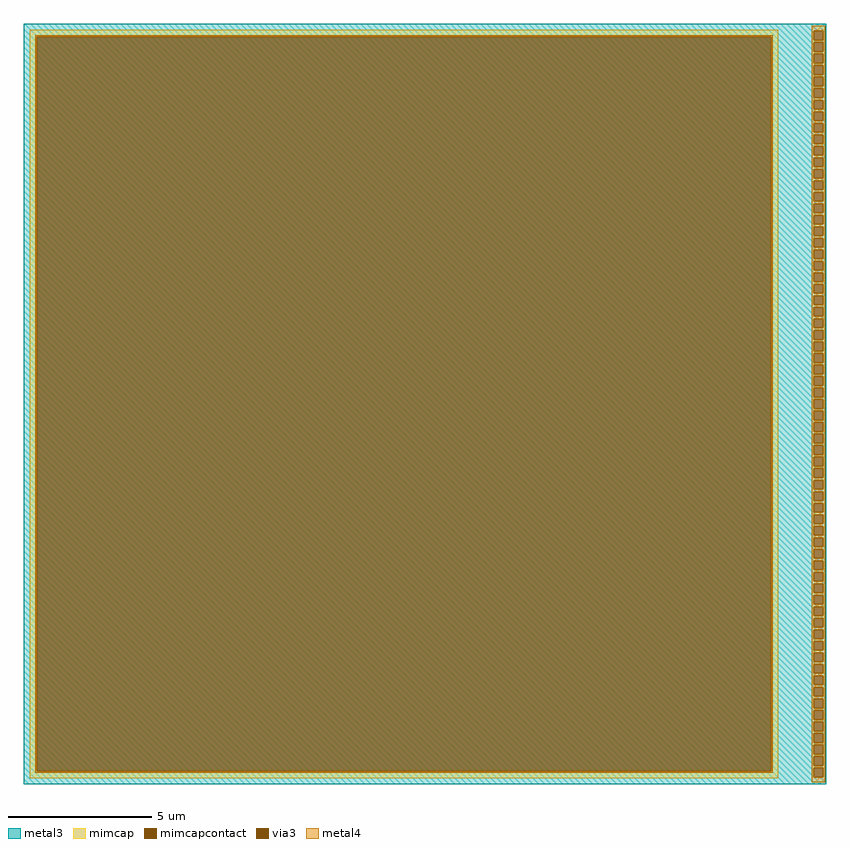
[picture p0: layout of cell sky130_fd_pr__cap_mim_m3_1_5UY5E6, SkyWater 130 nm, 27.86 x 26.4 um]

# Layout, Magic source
magic
tech sky130A
magscale 1 2
<< metal3 >>
rect -2786 2592 2786 2640
rect -2786 2528 2702 2592
rect 2766 2528 2786 2592
rect -2786 2512 2786 2528
rect -2786 2448 2702 2512
rect 2766 2448 2786 2512
rect -2786 2432 2786 2448
rect -2786 2368 2702 2432
rect 2766 2368 2786 2432
rect -2786 2352 2786 2368
rect -2786 2288 2702 2352
rect 2766 2288 2786 2352
rect -2786 2272 2786 2288
rect -2786 2208 2702 2272
rect 2766 2208 2786 2272
rect -2786 2192 2786 2208
rect -2786 2128 2702 2192
rect 2766 2128 2786 2192
rect -2786 2112 2786 2128
rect -2786 2048 2702 2112
rect 2766 2048 2786 2112
rect -2786 2032 2786 2048
rect -2786 1968 2702 2032
rect 2766 1968 2786 2032
rect -2786 1952 2786 1968
rect -2786 1888 2702 1952
rect 2766 1888 2786 1952
rect -2786 1872 2786 1888
rect -2786 1808 2702 1872
rect 2766 1808 2786 1872
rect -2786 1792 2786 1808
rect -2786 1728 2702 1792
rect 2766 1728 2786 1792
rect -2786 1712 2786 1728
rect -2786 1648 2702 1712
rect 2766 1648 2786 1712
rect -2786 1632 2786 1648
rect -2786 1568 2702 1632
rect 2766 1568 2786 1632
rect -2786 1552 2786 1568
rect -2786 1488 2702 1552
rect 2766 1488 2786 1552
rect -2786 1472 2786 1488
rect -2786 1408 2702 1472
rect 2766 1408 2786 1472
rect -2786 1392 2786 1408
rect -2786 1328 2702 1392
rect 2766 1328 2786 1392
rect -2786 1312 2786 1328
rect -2786 1248 2702 1312
rect 2766 1248 2786 1312
rect -2786 1232 2786 1248
rect -2786 1168 2702 1232
rect 2766 1168 2786 1232
rect -2786 1152 2786 1168
rect -2786 1088 2702 1152
rect 2766 1088 2786 1152
rect -2786 1072 2786 1088
rect -2786 1008 2702 1072
rect 2766 1008 2786 1072
rect -2786 992 2786 1008
rect -2786 928 2702 992
rect 2766 928 2786 992
rect -2786 912 2786 928
rect -2786 848 2702 912
rect 2766 848 2786 912
rect -2786 832 2786 848
rect -2786 768 2702 832
rect 2766 768 2786 832
rect -2786 752 2786 768
rect -2786 688 2702 752
rect 2766 688 2786 752
rect -2786 672 2786 688
rect -2786 608 2702 672
rect 2766 608 2786 672
rect -2786 592 2786 608
rect -2786 528 2702 592
rect 2766 528 2786 592
rect -2786 512 2786 528
rect -2786 448 2702 512
rect 2766 448 2786 512
rect -2786 432 2786 448
rect -2786 368 2702 432
rect 2766 368 2786 432
rect -2786 352 2786 368
rect -2786 288 2702 352
rect 2766 288 2786 352
rect -2786 272 2786 288
rect -2786 208 2702 272
rect 2766 208 2786 272
rect -2786 192 2786 208
rect -2786 128 2702 192
rect 2766 128 2786 192
rect -2786 112 2786 128
rect -2786 48 2702 112
rect 2766 48 2786 112
rect -2786 32 2786 48
rect -2786 -32 2702 32
rect 2766 -32 2786 32
rect -2786 -48 2786 -32
rect -2786 -112 2702 -48
rect 2766 -112 2786 -48
rect -2786 -128 2786 -112
rect -2786 -192 2702 -128
rect 2766 -192 2786 -128
rect -2786 -208 2786 -192
rect -2786 -272 2702 -208
rect 2766 -272 2786 -208
rect -2786 -288 2786 -272
rect -2786 -352 2702 -288
rect 2766 -352 2786 -288
rect -2786 -368 2786 -352
rect -2786 -432 2702 -368
rect 2766 -432 2786 -368
rect -2786 -448 2786 -432
rect -2786 -512 2702 -448
rect 2766 -512 2786 -448
rect -2786 -528 2786 -512
rect -2786 -592 2702 -528
rect 2766 -592 2786 -528
rect -2786 -608 2786 -592
rect -2786 -672 2702 -608
rect 2766 -672 2786 -608
rect -2786 -688 2786 -672
rect -2786 -752 2702 -688
rect 2766 -752 2786 -688
rect -2786 -768 2786 -752
rect -2786 -832 2702 -768
rect 2766 -832 2786 -768
rect -2786 -848 2786 -832
rect -2786 -912 2702 -848
rect 2766 -912 2786 -848
rect -2786 -928 2786 -912
rect -2786 -992 2702 -928
rect 2766 -992 2786 -928
rect -2786 -1008 2786 -992
rect -2786 -1072 2702 -1008
rect 2766 -1072 2786 -1008
rect -2786 -1088 2786 -1072
rect -2786 -1152 2702 -1088
rect 2766 -1152 2786 -1088
rect -2786 -1168 2786 -1152
rect -2786 -1232 2702 -1168
rect 2766 -1232 2786 -1168
rect -2786 -1248 2786 -1232
rect -2786 -1312 2702 -1248
rect 2766 -1312 2786 -1248
rect -2786 -1328 2786 -1312
rect -2786 -1392 2702 -1328
rect 2766 -1392 2786 -1328
rect -2786 -1408 2786 -1392
rect -2786 -1472 2702 -1408
rect 2766 -1472 2786 -1408
rect -2786 -1488 2786 -1472
rect -2786 -1552 2702 -1488
rect 2766 -1552 2786 -1488
rect -2786 -1568 2786 -1552
rect -2786 -1632 2702 -1568
rect 2766 -1632 2786 -1568
rect -2786 -1648 2786 -1632
rect -2786 -1712 2702 -1648
rect 2766 -1712 2786 -1648
rect -2786 -1728 2786 -1712
rect -2786 -1792 2702 -1728
rect 2766 -1792 2786 -1728
rect -2786 -1808 2786 -1792
rect -2786 -1872 2702 -1808
rect 2766 -1872 2786 -1808
rect -2786 -1888 2786 -1872
rect -2786 -1952 2702 -1888
rect 2766 -1952 2786 -1888
rect -2786 -1968 2786 -1952
rect -2786 -2032 2702 -1968
rect 2766 -2032 2786 -1968
rect -2786 -2048 2786 -2032
rect -2786 -2112 2702 -2048
rect 2766 -2112 2786 -2048
rect -2786 -2128 2786 -2112
rect -2786 -2192 2702 -2128
rect 2766 -2192 2786 -2128
rect -2786 -2208 2786 -2192
rect -2786 -2272 2702 -2208
rect 2766 -2272 2786 -2208
rect -2786 -2288 2786 -2272
rect -2786 -2352 2702 -2288
rect 2766 -2352 2786 -2288
rect -2786 -2368 2786 -2352
rect -2786 -2432 2702 -2368
rect 2766 -2432 2786 -2368
rect -2786 -2448 2786 -2432
rect -2786 -2512 2702 -2448
rect 2766 -2512 2786 -2448
rect -2786 -2528 2786 -2512
rect -2786 -2592 2702 -2528
rect 2766 -2592 2786 -2528
rect -2786 -2640 2786 -2592
<< via3 >>
rect 2702 2528 2766 2592
rect 2702 2448 2766 2512
rect 2702 2368 2766 2432
rect 2702 2288 2766 2352
rect 2702 2208 2766 2272
rect 2702 2128 2766 2192
rect 2702 2048 2766 2112
rect 2702 1968 2766 2032
rect 2702 1888 2766 1952
rect 2702 1808 2766 1872
rect 2702 1728 2766 1792
rect 2702 1648 2766 1712
rect 2702 1568 2766 1632
rect 2702 1488 2766 1552
rect 2702 1408 2766 1472
rect 2702 1328 2766 1392
rect 2702 1248 2766 1312
rect 2702 1168 2766 1232
rect 2702 1088 2766 1152
rect 2702 1008 2766 1072
rect 2702 928 2766 992
rect 2702 848 2766 912
rect 2702 768 2766 832
rect 2702 688 2766 752
rect 2702 608 2766 672
rect 2702 528 2766 592
rect 2702 448 2766 512
rect 2702 368 2766 432
rect 2702 288 2766 352
rect 2702 208 2766 272
rect 2702 128 2766 192
rect 2702 48 2766 112
rect 2702 -32 2766 32
rect 2702 -112 2766 -48
rect 2702 -192 2766 -128
rect 2702 -272 2766 -208
rect 2702 -352 2766 -288
rect 2702 -432 2766 -368
rect 2702 -512 2766 -448
rect 2702 -592 2766 -528
rect 2702 -672 2766 -608
rect 2702 -752 2766 -688
rect 2702 -832 2766 -768
rect 2702 -912 2766 -848
rect 2702 -992 2766 -928
rect 2702 -1072 2766 -1008
rect 2702 -1152 2766 -1088
rect 2702 -1232 2766 -1168
rect 2702 -1312 2766 -1248
rect 2702 -1392 2766 -1328
rect 2702 -1472 2766 -1408
rect 2702 -1552 2766 -1488
rect 2702 -1632 2766 -1568
rect 2702 -1712 2766 -1648
rect 2702 -1792 2766 -1728
rect 2702 -1872 2766 -1808
rect 2702 -1952 2766 -1888
rect 2702 -2032 2766 -1968
rect 2702 -2112 2766 -2048
rect 2702 -2192 2766 -2128
rect 2702 -2272 2766 -2208
rect 2702 -2352 2766 -2288
rect 2702 -2432 2766 -2368
rect 2702 -2512 2766 -2448
rect 2702 -2592 2766 -2528
<< mimcap >>
rect -2746 2552 2454 2600
rect -2746 -2552 -2698 2552
rect 2406 -2552 2454 2552
rect -2746 -2600 2454 -2552
<< mimcapcontact >>
rect -2698 -2552 2406 2552
<< metal4 >>
rect 2686 2592 2782 2628
rect -2707 2552 2415 2561
rect -2707 -2552 -2698 2552
rect 2406 -2552 2415 2552
rect -2707 -2561 2415 -2552
rect 2686 2528 2702 2592
rect 2766 2528 2782 2592
rect 2686 2512 2782 2528
rect 2686 2448 2702 2512
rect 2766 2448 2782 2512
rect 2686 2432 2782 2448
rect 2686 2368 2702 2432
rect 2766 2368 2782 2432
rect 2686 2352 2782 2368
rect 2686 2288 2702 2352
rect 2766 2288 2782 2352
rect 2686 2272 2782 2288
rect 2686 2208 2702 2272
rect 2766 2208 2782 2272
rect 2686 2192 2782 2208
rect 2686 2128 2702 2192
rect 2766 2128 2782 2192
rect 2686 2112 2782 2128
rect 2686 2048 2702 2112
rect 2766 2048 2782 2112
rect 2686 2032 2782 2048
rect 2686 1968 2702 2032
rect 2766 1968 2782 2032
rect 2686 1952 2782 1968
rect 2686 1888 2702 1952
rect 2766 1888 2782 1952
rect 2686 1872 2782 1888
rect 2686 1808 2702 1872
rect 2766 1808 2782 1872
rect 2686 1792 2782 1808
rect 2686 1728 2702 1792
rect 2766 1728 2782 1792
rect 2686 1712 2782 1728
rect 2686 1648 2702 1712
rect 2766 1648 2782 1712
rect 2686 1632 2782 1648
rect 2686 1568 2702 1632
rect 2766 1568 2782 1632
rect 2686 1552 2782 1568
rect 2686 1488 2702 1552
rect 2766 1488 2782 1552
rect 2686 1472 2782 1488
rect 2686 1408 2702 1472
rect 2766 1408 2782 1472
rect 2686 1392 2782 1408
rect 2686 1328 2702 1392
rect 2766 1328 2782 1392
rect 2686 1312 2782 1328
rect 2686 1248 2702 1312
rect 2766 1248 2782 1312
rect 2686 1232 2782 1248
rect 2686 1168 2702 1232
rect 2766 1168 2782 1232
rect 2686 1152 2782 1168
rect 2686 1088 2702 1152
rect 2766 1088 2782 1152
rect 2686 1072 2782 1088
rect 2686 1008 2702 1072
rect 2766 1008 2782 1072
rect 2686 992 2782 1008
rect 2686 928 2702 992
rect 2766 928 2782 992
rect 2686 912 2782 928
rect 2686 848 2702 912
rect 2766 848 2782 912
rect 2686 832 2782 848
rect 2686 768 2702 832
rect 2766 768 2782 832
rect 2686 752 2782 768
rect 2686 688 2702 752
rect 2766 688 2782 752
rect 2686 672 2782 688
rect 2686 608 2702 672
rect 2766 608 2782 672
rect 2686 592 2782 608
rect 2686 528 2702 592
rect 2766 528 2782 592
rect 2686 512 2782 528
rect 2686 448 2702 512
rect 2766 448 2782 512
rect 2686 432 2782 448
rect 2686 368 2702 432
rect 2766 368 2782 432
rect 2686 352 2782 368
rect 2686 288 2702 352
rect 2766 288 2782 352
rect 2686 272 2782 288
rect 2686 208 2702 272
rect 2766 208 2782 272
rect 2686 192 2782 208
rect 2686 128 2702 192
rect 2766 128 2782 192
rect 2686 112 2782 128
rect 2686 48 2702 112
rect 2766 48 2782 112
rect 2686 32 2782 48
rect 2686 -32 2702 32
rect 2766 -32 2782 32
rect 2686 -48 2782 -32
rect 2686 -112 2702 -48
rect 2766 -112 2782 -48
rect 2686 -128 2782 -112
rect 2686 -192 2702 -128
rect 2766 -192 2782 -128
rect 2686 -208 2782 -192
rect 2686 -272 2702 -208
rect 2766 -272 2782 -208
rect 2686 -288 2782 -272
rect 2686 -352 2702 -288
rect 2766 -352 2782 -288
rect 2686 -368 2782 -352
rect 2686 -432 2702 -368
rect 2766 -432 2782 -368
rect 2686 -448 2782 -432
rect 2686 -512 2702 -448
rect 2766 -512 2782 -448
rect 2686 -528 2782 -512
rect 2686 -592 2702 -528
rect 2766 -592 2782 -528
rect 2686 -608 2782 -592
rect 2686 -672 2702 -608
rect 2766 -672 2782 -608
rect 2686 -688 2782 -672
rect 2686 -752 2702 -688
rect 2766 -752 2782 -688
rect 2686 -768 2782 -752
rect 2686 -832 2702 -768
rect 2766 -832 2782 -768
rect 2686 -848 2782 -832
rect 2686 -912 2702 -848
rect 2766 -912 2782 -848
rect 2686 -928 2782 -912
rect 2686 -992 2702 -928
rect 2766 -992 2782 -928
rect 2686 -1008 2782 -992
rect 2686 -1072 2702 -1008
rect 2766 -1072 2782 -1008
rect 2686 -1088 2782 -1072
rect 2686 -1152 2702 -1088
rect 2766 -1152 2782 -1088
rect 2686 -1168 2782 -1152
rect 2686 -1232 2702 -1168
rect 2766 -1232 2782 -1168
rect 2686 -1248 2782 -1232
rect 2686 -1312 2702 -1248
rect 2766 -1312 2782 -1248
rect 2686 -1328 2782 -1312
rect 2686 -1392 2702 -1328
rect 2766 -1392 2782 -1328
rect 2686 -1408 2782 -1392
rect 2686 -1472 2702 -1408
rect 2766 -1472 2782 -1408
rect 2686 -1488 2782 -1472
rect 2686 -1552 2702 -1488
rect 2766 -1552 2782 -1488
rect 2686 -1568 2782 -1552
rect 2686 -1632 2702 -1568
rect 2766 -1632 2782 -1568
rect 2686 -1648 2782 -1632
rect 2686 -1712 2702 -1648
rect 2766 -1712 2782 -1648
rect 2686 -1728 2782 -1712
rect 2686 -1792 2702 -1728
rect 2766 -1792 2782 -1728
rect 2686 -1808 2782 -1792
rect 2686 -1872 2702 -1808
rect 2766 -1872 2782 -1808
rect 2686 -1888 2782 -1872
rect 2686 -1952 2702 -1888
rect 2766 -1952 2782 -1888
rect 2686 -1968 2782 -1952
rect 2686 -2032 2702 -1968
rect 2766 -2032 2782 -1968
rect 2686 -2048 2782 -2032
rect 2686 -2112 2702 -2048
rect 2766 -2112 2782 -2048
rect 2686 -2128 2782 -2112
rect 2686 -2192 2702 -2128
rect 2766 -2192 2782 -2128
rect 2686 -2208 2782 -2192
rect 2686 -2272 2702 -2208
rect 2766 -2272 2782 -2208
rect 2686 -2288 2782 -2272
rect 2686 -2352 2702 -2288
rect 2766 -2352 2782 -2288
rect 2686 -2368 2782 -2352
rect 2686 -2432 2702 -2368
rect 2766 -2432 2782 -2368
rect 2686 -2448 2782 -2432
rect 2686 -2512 2702 -2448
rect 2766 -2512 2782 -2448
rect 2686 -2528 2782 -2512
rect 2686 -2592 2702 -2528
rect 2766 -2592 2782 -2528
rect 2686 -2628 2782 -2592
<< properties >>
string FIXED_BBOX -2786 -2640 2494 2640
<< end >>
